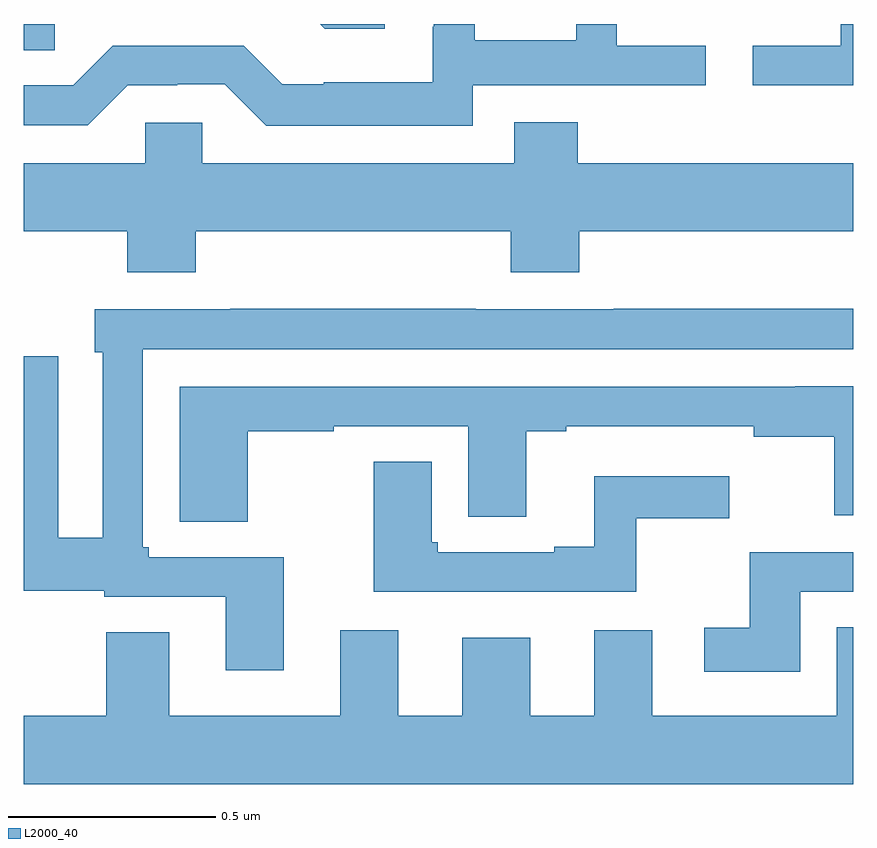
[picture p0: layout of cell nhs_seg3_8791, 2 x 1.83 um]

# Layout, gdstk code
import gdstk
lib = gdstk.Library(unit=1e-6, precision=1e-09)
def R(c, l, rs):  # rectangles x0, y0, x1, y1
    for r in rs: c.add(gdstk.rectangle(r[:2], r[2:], *l))
def P(c, l, *ps):  # polygons
    for p in ps: c.add(gdstk.Polygon(p, *l))
L2000_40 = (2000, 40)

nhs_seg3_8791 = lib.new_cell('nhs_seg3_8791')
R(nhs_seg3_8791, L2000_40, [(220,717.337,220.075,717.4)])
P(nhs_seg3_8791, L2000_40, [(222,717.4),(221.97,717.4),(221.97,717.348),(221.757,717.348),(221.757,717.252),(222,717.252)],
  [(220.87,717.4),(220.715,717.4),(220.726,717.389),(220.87,717.389)],
  [(221.082,717.252),(221.644,717.252),(221.644,717.348),(221.43,717.348),(221.43,717.4),(221.332,717.4),(221.332,717.361),(221.087,717.361),(221.087,717.4),(220.988,717.4),(220.988,717.393),(220.986,717.393),(220.986,717.259),(220.723,717.259),(220.723,717.255),(220.623,717.255),(220.53,717.348),(220.215,717.348),(220.119,717.252),(220,717.252),(220,717.156),(220.155,717.156),(220.251,717.252),(220.37,717.252),(220.37,717.255),(220.485,717.255),(220.585,717.155),(221.082,717.155)],
  [(220.415,716.9),(221.174,716.9),(221.174,716.801),(221.339,716.801),(221.339,716.9),(222,716.9),(222,717.064),(221.336,717.064),(221.336,717.163),(221.183,717.163),(221.183,717.064),(220.431,717.064),(220.431,717.162),(220.293,717.162),(220.293,717.064),(220,717.064),(220,716.9),(220.25,716.9),(220.25,716.801),(220.415,716.801)],
  [(220.627,716.115),(220.302,716.115),(220.302,716.139),(220.287,716.139),(220.287,716.616),(222,716.616),(222,716.714),(221.422,716.714),(221.422,716.712),(221.09,716.712),(221.09,716.714),(220.498,716.714),(220.498,716.712),(220.171,716.712),(220.171,716.609),(220.191,716.609),(220.191,716.162),(220.083,716.162),(220.083,716.599),(220,716.599),(220,716.034),(220.194,716.034),(220.194,716.019),(220.487,716.019),(220.487,715.842),(220.627,715.842)],
  [(220.54,716.418),(220.748,716.418),(220.748,716.43),(221.072,716.43),(221.072,716.212),(221.212,716.212),(221.212,716.418),(221.308,716.418),(221.308,716.43),(221.76,716.43),(221.76,716.405),(221.954,716.405),(221.954,716.216),(222,716.216),(222,716.527),(221.86,716.527),(221.86,716.526),(220.376,716.526),(220.376,716.2),(220.54,716.2)],
  [(221.477,716.209),(221.701,716.209),(221.701,716.31),(221.375,716.31),(221.375,716.14),(221.279,716.14),(221.279,716.127),(220.998,716.127),(220.998,716.151),(220.984,716.151),(220.984,716.345),(220.844,716.345),(220.844,716.031),(221.477,716.031)],
  [(221.872,716.031),(222,716.031),(222,716.127),(221.75,716.127),(221.75,715.945),(221.64,715.945),(221.64,715.838),(221.872,715.838)],
  [(222,715.946),(221.96,715.946),(221.96,715.732),(221.515,715.732),(221.515,715.939),(221.375,715.939),(221.375,715.732),(221.221,715.732),(221.221,715.921),(221.057,715.921),(221.057,715.732),(220.903,715.732),(220.903,715.939),(220.763,715.939),(220.763,715.732),(220.351,715.732),(220.351,715.934),(220.199,715.934),(220.199,715.732),(220,715.732),(220,715.568),(222,715.568)])

lib.write_gds('nhs_seg3_8791.gds')
